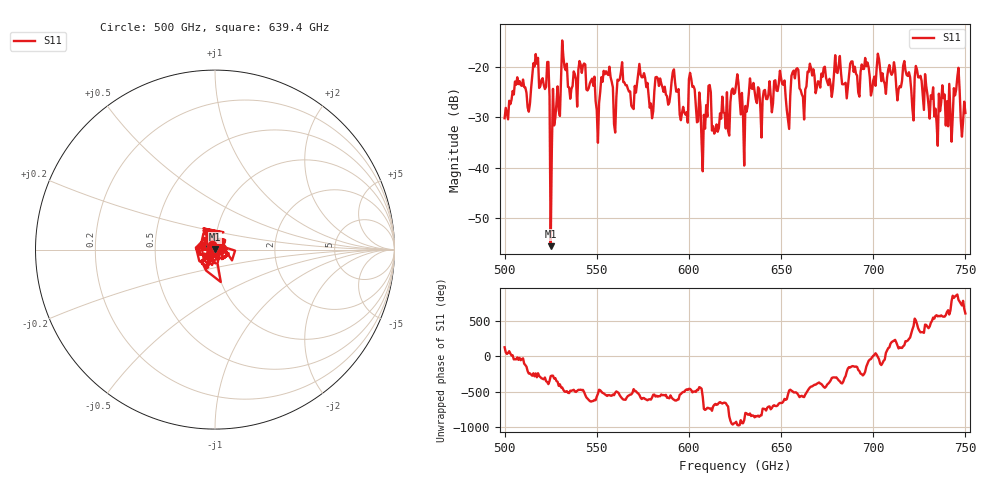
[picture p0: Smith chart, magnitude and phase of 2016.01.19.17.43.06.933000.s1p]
!Created with skrf (http://scikit-rf.org).
# GHz S RI R 50.0
!freq ReS11 ImS11
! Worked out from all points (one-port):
!   401 points, 500 GHz to 750 GHz, reference 50 ohm
!   lowest |S11| = -55.6 dB at 525 GHz (marker M1), VSWR 1.00, Z = 50 + j0.163 ohm
!   |S11| at or under -10 dB: start of sweep to end of sweep
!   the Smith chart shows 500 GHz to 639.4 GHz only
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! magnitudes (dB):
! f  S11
! 500 GHz  -30.2
! 506.9 GHz  -22.1
! 513.1 GHz  -28.9
! 516.9 GHz  -17.4
! 523.1 GHz  -19.0
! 525 GHz  -55.6
! 526.2 GHz  -24.4
! 531.2 GHz  -14.7
! 542.5 GHz  -19.7
! 550.6 GHz  -35.1
! 553.8 GHz  -20.8
! 559.4 GHz  -31.4
! 562.5 GHz  -22.4
! 593.8 GHz  -24.8
! 598.1 GHz  -29.5
! 601.2 GHz  -22.3
! 607.5 GHz  -40.8
! 610.6 GHz  -23.8
! 615 GHz  -31.4
! 625 GHz  -25.1
! 630.6 GHz  -27.8
! 633.8 GHz  -24.2
! 650.6 GHz  -23.4
! 653.8 GHz  -30.5
! 656.2 GHz  -21.1
! 687.5 GHz  -19.4
! 718.8 GHz  -21.8
! 750 GHz  -29.1
